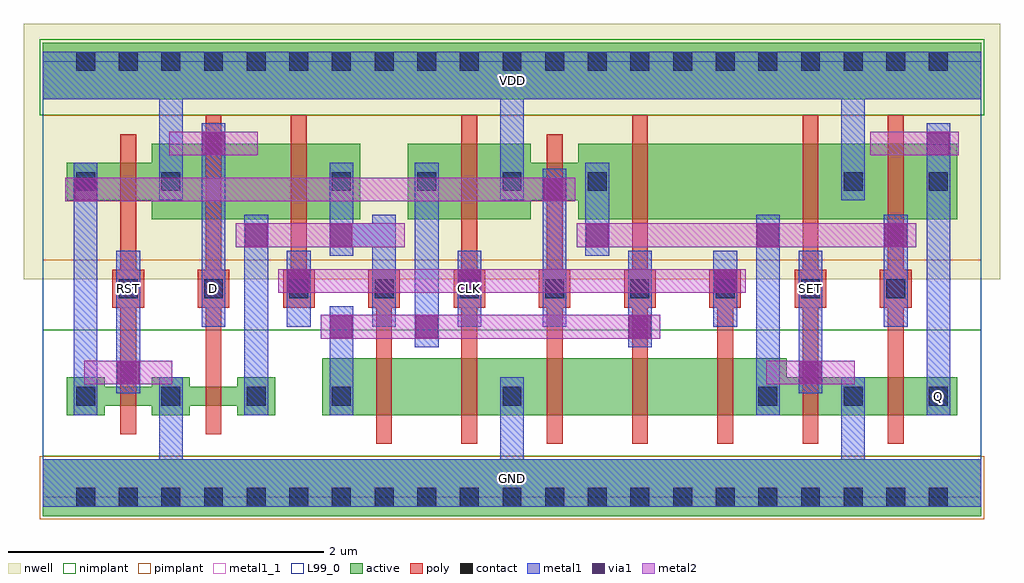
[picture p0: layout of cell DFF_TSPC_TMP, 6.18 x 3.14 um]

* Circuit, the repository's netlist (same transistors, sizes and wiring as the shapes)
.SUBCKT DFF_TSPC_TMP D CLK SET RST Q VDD GND
MMP1 p1 D VDD VDD pmos1v w=0.48u l=0.1u
MMP2 X CLK p1 VDD pmos1v w=0.48u l=0.1u
MMN1 X D GND GND nmos1v w=0.12u l=0.1u
MMP3 Y CLK VDD VDD pmos1v w=0.48u l=0.1u
MMN2 Y X n1 GND nmos1v w=0.36u l=0.1u
MMN3 n1 CLK GND GND nmos1v w=0.36u l=0.1u
MMPS p2 SET VDD VDD pmos1v w=0.48u l=0.1u
MMP4 QB Y p2 VDD pmos1v w=0.48u l=0.1u
MMN4 QB CLK n2 GND nmos1v w=0.36u l=0.1u
MMN5 n2 Y n3 GND nmos1v w=0.36u l=0.1u
MMNR n3 RSTB GND GND nmos1v w=0.36u l=0.1u
MMNS QB SET GND GND nmos1v w=0.24u l=0.1u
MMPR QB RSTB VDD VDD pmos1v w=0.24u l=0.1u
MMN6 RSTB RST GND GND nmos1v w=0.12u l=0.1u
MMP6 RSTB RST VDD VDD pmos1v w=0.24u l=0.1u
MMN7 Q QB GND GND nmos1v w=0.24u l=0.1u
MMP7 Q QB VDD VDD pmos1v w=0.48u l=0.1u
.ENDS

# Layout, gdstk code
import gdstk
lib = gdstk.Library(unit=1e-6, precision=5e-10)
def R(c, l, rs):  # rectangles x0, y0, x1, y1
    for r in rs: c.add(gdstk.rectangle(r[:2], r[2:], *l))
def A(c, l, x, y, w, h, nx, ny, dx, dy):  # array of equal rectangles
    R(c, l, [(x+i*dx, y+j*dy, x+i*dx+w, y+j*dy+h) for i in range(nx) for j in range(ny)])
active = (1, 0)
nwell = (2, 0)
poly = (3, 0)
nimplant = (4, 0)
pimplant = (5, 0)
contact = (6, 0)
metal1 = (7, 0)
metal1_1 = (7, 1)
via1 = (8, 0)
metal2 = (9, 0)
L99_0 = (99, 0)

dff_tspc_tmp = lib.new_cell('DFF_TSPC_TMP')
A(dff_tspc_tmp, active, 0.15, 0.52, 0.24, 0.24, 3, 1, 0.54, 0)
A(dff_tspc_tmp, active, 1.77, 0.52, 0.24, 0.36, 6, 1, 0.54, 0)
A(dff_tspc_tmp, active, 2.01, 0.52, 0.3, 0.36, 5, 1, 0.54, 0)
A(dff_tspc_tmp, active, 0.69, 1.76, 0.24, 0.48, 10, 1, 0.54, 0)
A(dff_tspc_tmp, active, 1.47, 1.76, 0.3, 0.48, 3, 1, 1.08, 0)
A(dff_tspc_tmp, active, 4.17, 1.76, 0.3, 0.48, 3, 1, 0.54, 0)
R(dff_tspc_tmp, active, [(0,-0.12,5.94,0.24), (4.71,0.52,5.01,0.76), (5.01,0.52,5.25,0.76), (5.25,0.52,5.55,0.76), (5.55,0.52,5.79,0.76), (0.39,0.58,0.69,0.7), (0.93,0.58,1.23,0.7), (0.93,1.76,1.23,2.24), (0.15,1.88,0.39,2.12), (0.39,1.88,0.69,2.12), (3.09,1.88,3.39,2.12), (0,2.52,5.94,2.88)])
R(dff_tspc_tmp, nwell, [(-0.12,1.38,6.06,3)])
A(dff_tspc_tmp, poly, 2.65, 0.34, 0.1, 2.08, 3, 1, 1.08, 0)
A(dff_tspc_tmp, poly, 0.44, 1.2, 0.2, 0.24, 10, 1, 0.54, 0)
R(dff_tspc_tmp, poly, [(2.11,0.34,2.21,1.44), (3.19,0.34,3.29,2.3), (4.27,0.34,4.37,1.44), (5.35,0.34,5.45,2.42), (0.49,0.4,0.59,2.3), (1.03,0.4,1.13,2.42), (1.57,1.2,1.67,2.42)])
R(dff_tspc_tmp, nimplant, [(0,0.26,5.94,1.06), (-0.02,2.42,5.96,2.9)])
R(dff_tspc_tmp, pimplant, [(-0.02,-0.14,5.96,0.26), (0,1.5,5.94,2.42)])
A(dff_tspc_tmp, contact, 0.21, -0.06, 0.12, 0.12, 21, 2, 0.27, 2.76)
A(dff_tspc_tmp, contact, 0.21, 0.58, 0.12, 0.12, 4, 1, 0.54, 0)
A(dff_tspc_tmp, contact, 4.53, 0.58, 0.12, 0.12, 3, 1, 0.54, 0)
A(dff_tspc_tmp, contact, 0.48, 1.26, 0.12, 0.12, 10, 1, 0.54, 0)
A(dff_tspc_tmp, contact, 1.83, 1.94, 0.12, 0.12, 4, 1, 0.54, 0)
R(dff_tspc_tmp, contact, [(2.91,0.58,3.03,0.7), (0.21,1.94,0.33,2.06), (0.75,1.94,0.87,2.06), (5.07,1.94,5.19,2.06), (5.61,1.94,5.73,2.06)])
A(dff_tspc_tmp, metal1, 0.735, 0, 0.15, 0.76, 3, 1, 2.16, 0)
A(dff_tspc_tmp, metal1, 0.735, 1.88, 0.15, 0.88, 3, 1, 2.16, 0)
R(dff_tspc_tmp, metal1, [(0,-0.06,5.94,0.24), (0.195,0.52,0.345,2.12), (1.275,0.52,1.425,1.79), (1.815,0.52,1.965,1.21), (4.515,0.52,4.665,1.79), (5.595,0.52,5.745,2.37), (0.465,0.66,0.615,1.56), (4.785,0.66,4.935,1.56), (2.355,0.95,2.505,2.12), (3.705,0.95,3.855,1.56), (1.005,1.08,1.155,2.37), (1.545,1.08,1.695,1.56), (2.085,1.08,2.235,1.79), (2.625,1.08,2.775,1.56), (3.165,1.08,3.315,2.08), (4.245,1.08,4.395,1.56), (5.325,1.08,5.475,1.79), (1.815,1.53,1.965,2.12), (3.435,1.53,3.585,2.12), (1.815,1.585,2.235,1.735), (0,2.52,5.94,2.82)])
R(dff_tspc_tmp, metal1_1, [(0,0,5.94,0.24), (5.595,0.52,5.745,0.76), (0.465,1.2,0.615,1.44), (1.005,1.2,1.155,1.44), (2.625,1.2,2.775,1.44), (4.785,1.2,4.935,1.44), (0,2.52,5.94,2.76)])
R(dff_tspc_tmp, via1, [(0.47,0.72,0.61,0.86), (4.79,0.72,4.93,0.86), (1.82,1.01,1.96,1.15), (2.36,1.01,2.5,1.15), (3.71,1.01,3.85,1.15), (1.55,1.3,1.69,1.44), (2.63,1.3,2.77,1.44), (4.25,1.3,4.39,1.44), (1.28,1.59,1.42,1.73), (1.82,1.59,1.96,1.73), (3.44,1.59,3.58,1.73), (4.52,1.59,4.66,1.73), (5.33,1.59,5.47,1.73), (0.2,1.88,0.34,2.02), (3.17,1.88,3.31,2.02), (1.01,2.17,1.15,2.31), (5.6,2.17,5.74,2.31)])
R(dff_tspc_tmp, metal2, [(0.26,0.715,0.82,0.865), (4.58,0.715,5.14,0.865), (1.76,1.005,3.91,1.155), (1.49,1.295,4.45,1.445), (1.22,1.585,2.29,1.735), (3.38,1.585,5.53,1.735), (0.14,1.875,3.37,2.025), (0.8,2.165,1.36,2.315), (5.24,2.165,5.8,2.315)])
R(dff_tspc_tmp, L99_0, [(0,0,5.94,2.76)])
dff_tspc_tmp.add(gdstk.Label('GND', (2.97,0.12), layer=7, texttype=3))
dff_tspc_tmp.add(gdstk.Label('VDD', (2.97,2.64), layer=7, texttype=3))
dff_tspc_tmp.add(gdstk.Label('RST', (0.54,1.32), layer=7, texttype=3))
dff_tspc_tmp.add(gdstk.Label('D', (1.08,1.32), layer=7, texttype=3))
dff_tspc_tmp.add(gdstk.Label('CLK', (2.7,1.32), layer=7, texttype=3))
dff_tspc_tmp.add(gdstk.Label('SET', (4.86,1.32), layer=7, texttype=3))
dff_tspc_tmp.add(gdstk.Label('Q', (5.67,0.64), layer=7, texttype=3))

lib.write_gds('DFF_TSPC_TMP.gds')
